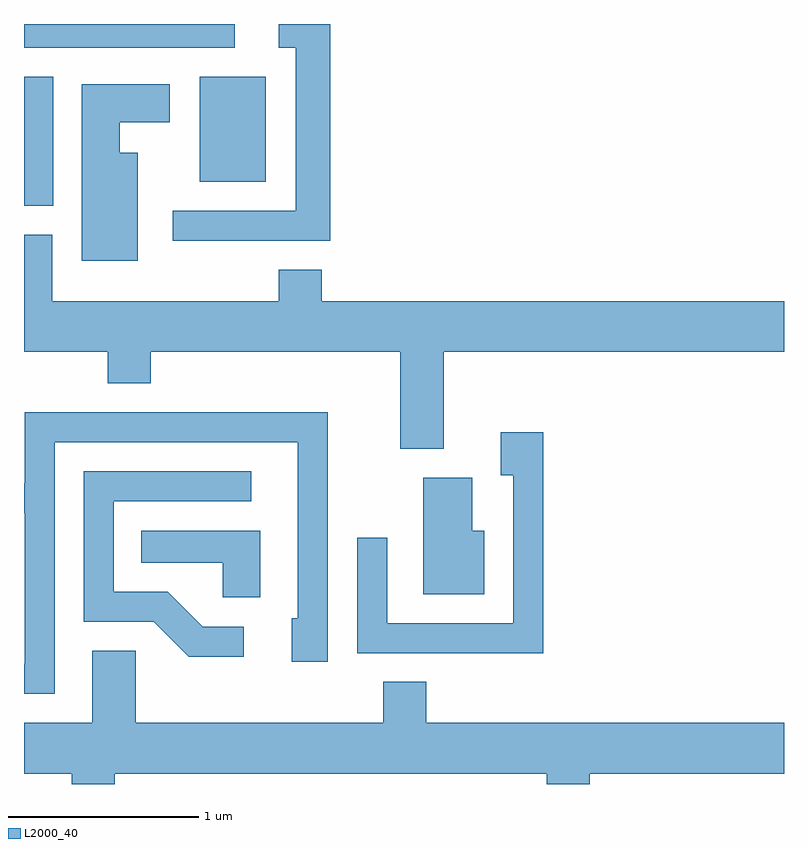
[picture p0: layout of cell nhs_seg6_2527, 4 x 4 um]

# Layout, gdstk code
import gdstk
lib = gdstk.Library(unit=1e-6, precision=1e-09)
def R(c, l, rs):  # rectangles x0, y0, x1, y1
    for r in rs: c.add(gdstk.rectangle(r[:2], r[2:], *l))
def P(c, l, *ps):  # polygons
    for p in ps: c.add(gdstk.Polygon(p, *l))
L2000_40 = (2000, 40)

nhs_seg6_2527 = lib.new_cell('nhs_seg6_2527')
R(nhs_seg6_2527, L2000_40, [(261.611,1595.206,261.764,1595.884), (262.536,1595.331,262.884,1595.884), (261.611,1596.036,262.719,1596.162)])
P(nhs_seg6_2527, L2000_40, [(263.224,1596.162),(262.951,1596.162),(262.951,1596.036),(263.041,1596.036),(263.041,1595.179),(262.393,1595.179),(262.393,1595.021),(263.224,1595.021)],
  [(262.209,1595.484),(262.114,1595.484),(262.114,1595.646),(262.379,1595.646),(262.379,1595.844),(261.916,1595.844),(261.916,1594.916),(262.209,1594.916)],
  [(263.819,1594.436),(265.611,1594.436),(265.611,1594.704),(263.179,1594.704),(263.179,1594.869),(262.951,1594.869),(262.951,1594.704),(261.759,1594.704),(261.759,1595.054),(261.611,1595.054),(261.611,1594.436),(262.051,1594.436),(262.051,1594.271),(262.279,1594.271),(262.279,1594.436),(263.591,1594.436),(263.591,1593.926),(263.819,1593.926)],
  [(261.774,1593.961),(263.051,1593.961),(263.051,1593.034),(263.021,1593.034),(263.021,1592.806),(263.209,1592.806),(263.209,1594.119),(261.616,1594.119),(261.616,1593.744),(261.611,1593.744),(261.611,1593.586),(261.616,1593.586),(261.616,1592.794),(261.611,1592.794),(261.611,1592.636),(261.774,1592.636)],
  [(264.344,1594.014),(264.121,1594.014),(264.121,1593.786),(264.186,1593.786),(264.186,1593.009),(263.524,1593.009),(263.524,1593.458),(263.366,1593.458),(263.366,1592.851),(264.344,1592.851)],
  [(262.768,1592.989),(262.552,1592.989),(262.367,1593.174),(262.084,1593.174),(262.084,1593.651),(262.808,1593.651),(262.808,1593.809),(261.926,1593.809),(261.926,1593.016),(262.294,1593.016),(262.479,1592.831),(262.768,1592.831)],
  [(264.034,1593.494),(263.969,1593.494),(263.969,1593.774),(263.711,1593.774),(263.711,1593.161),(264.034,1593.161)],
  [(262.854,1593.494),(262.228,1593.494),(262.228,1593.326),(262.656,1593.326),(262.656,1593.146),(262.854,1593.146)],
  [(262.089,1592.216),(264.361,1592.216),(264.361,1592.162),(264.589,1592.162),(264.589,1592.216),(265.611,1592.216),(265.611,1592.484),(263.729,1592.484),(263.729,1592.699),(263.501,1592.699),(263.501,1592.484),(262.199,1592.484),(262.199,1592.864),(261.971,1592.864),(261.971,1592.484),(261.611,1592.484),(261.611,1592.216),(261.861,1592.216),(261.861,1592.162),(262.089,1592.162)])

lib.write_gds('nhs_seg6_2527.gds')
